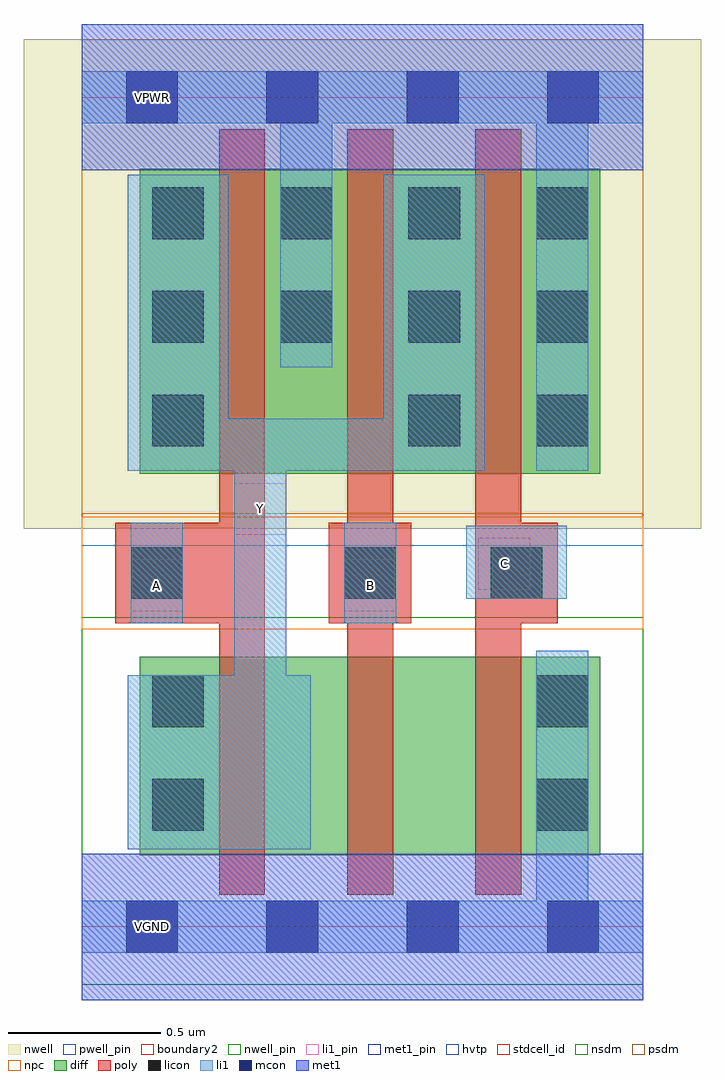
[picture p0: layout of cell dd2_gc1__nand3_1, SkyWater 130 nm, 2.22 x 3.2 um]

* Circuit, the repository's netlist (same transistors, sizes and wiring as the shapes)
.subckt dd2_gc1__nand3_1 A B C VGND VNB VPB VPWR Y
X0 Y A n1 VNB sky130_fd_pr__nfet_01v8 w=0.65 l=0.15
X1 n1 B n2 VNB sky130_fd_pr__nfet_01v8 w=0.65 l=0.15
X2 n2 C VGND VNB sky130_fd_pr__nfet_01v8 w=0.65 l=0.15
X3 Y A VPWR VPB sky130_fd_pr__pfet_01v8_hvt w=1 l=0.15
X4 Y B VPWR VPB sky130_fd_pr__pfet_01v8_hvt w=1 l=0.15
X5 Y C VPWR VPB sky130_fd_pr__pfet_01v8_hvt w=1 l=0.15
.ends

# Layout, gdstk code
import gdstk
lib = gdstk.Library(unit=1e-6, precision=1e-09)
def R(c, l, rs):  # rectangles x0, y0, x1, y1
    for r in rs: c.add(gdstk.rectangle(r[:2], r[2:], *l))
def A(c, l, x, y, w, h, nx, ny, dx, dy):  # array of equal rectangles
    R(c, l, [(x+i*dx, y+j*dy, x+i*dx+w, y+j*dy+h) for i in range(nx) for j in range(ny)])
nwell_pin = (64, 16)
nwell = (64, 20)
diff = (65, 20)
poly = (66, 20)
licon = (66, 44)
li1_pin = (67, 16)
li1 = (67, 20)
mcon = (67, 44)
met1_pin = (68, 16)
met1 = (68, 20)
hvtp = (78, 44)
stdcell_id = (81, 4)
nsdm = (93, 44)
psdm = (94, 20)
npc = (95, 20)
pwell_pin = (122, 16)
boundary2 = (236, 0)

dd2_gc1__nand3_1 = lib.new_cell('dd2_gc1__nand3_1')
R(dd2_gc1__nand3_1, nwell_pin, [(0.145,2.635,0.315,2.805)])
R(dd2_gc1__nand3_1, nwell, [(-0.19,1.305,2.03,2.91)])
R(dd2_gc1__nand3_1, diff, [(0.19,0.235,1.7,0.885), (0.19,1.485,1.7,2.485)])
A(dd2_gc1__nand3_1, poly, 0.45, 0.105, 0.15, 2.51, 3, 1, 0.42, 0)
R(dd2_gc1__nand3_1, poly, [(0.11,0.995,0.6,1.325), (0.81,0.995,1.08,1.325), (1.29,0.995,1.56,1.325)])
A(dd2_gc1__nand3_1, licon, 0.23, 1.915, 0.17, 0.17, 4, 2, 0.42, 0.34)
R(dd2_gc1__nand3_1, licon, [(0.23,0.315,0.4,0.485), (1.49,0.315,1.66,0.485), (0.23,0.655,0.4,0.825), (1.49,0.655,1.66,0.825), (0.16,1.075,0.33,1.245), (0.86,1.075,1.03,1.245), (1.34,1.075,1.51,1.245), (0.23,1.575,0.4,1.745), (1.07,1.575,1.24,1.745), (1.49,1.575,1.66,1.745)])
R(dd2_gc1__nand3_1, li1_pin, [(0.16,1.035,0.33,1.205), (0.86,1.035,1.03,1.205), (1.3,1.105,1.47,1.275), (0.5,1.285,0.67,1.455)])
R(dd2_gc1__nand3_1, li1, [(0,-0.085,1.84,0.085), (1.49,-0.085,1.66,0.905), (0.15,0.255,0.75,0.825), (0.5,0.815,0.67,1.505), (0.16,0.995,0.33,1.325), (0.86,0.995,1.03,1.325), (1.26,1.075,1.59,1.315), (0.15,1.495,0.48,2.465), (0.15,1.495,1.32,1.665), (0.99,1.495,1.32,2.465), (1.49,1.495,1.66,2.805), (0.65,1.835,0.82,2.805), (0,2.635,1.84,2.805)])
A(dd2_gc1__nand3_1, mcon, 0.145, -0.085, 0.17, 0.17, 4, 2, 0.46, 2.72)
R(dd2_gc1__nand3_1, met1_pin, [(0.145,-0.085,0.315,0.085), (0.145,2.635,0.315,2.805)])
R(dd2_gc1__nand3_1, met1, [(0,-0.24,1.84,0.24), (0,2.48,1.84,2.96)])
R(dd2_gc1__nand3_1, hvtp, [(0,1.25,1.84,2.72)])
R(dd2_gc1__nand3_1, stdcell_id, [(0,0,1.84,2.72)])
R(dd2_gc1__nand3_1, nsdm, [(0,-0.19,1.84,1.015)])
R(dd2_gc1__nand3_1, psdm, [(0,1.355,1.84,2.91)])
R(dd2_gc1__nand3_1, npc, [(0,0.975,1.84,1.345)])
R(dd2_gc1__nand3_1, pwell_pin, [(0.145,-0.085,0.315,0.085)])
R(dd2_gc1__nand3_1, boundary2, [(0,0,1.84,2.72)])
dd2_gc1__nand3_1.add(gdstk.Label('A', (0.245,1.12), layer=67, texttype=5))
dd2_gc1__nand3_1.add(gdstk.Label('B', (0.945,1.12), layer=67, texttype=5))
dd2_gc1__nand3_1.add(gdstk.Label('C', (1.385,1.19), layer=67, texttype=5))
dd2_gc1__nand3_1.add(gdstk.Label('Y', (0.585,1.37), layer=67, texttype=5))
dd2_gc1__nand3_1.add(gdstk.Label('VGND', (0.23,0), layer=68, texttype=5))
dd2_gc1__nand3_1.add(gdstk.Label('VPWR', (0.23,2.72), layer=68, texttype=5))
dd2_gc1__nand3_1.add(gdstk.Label('VPB', (0.23,2.72), layer=64, texttype=5))
dd2_gc1__nand3_1.add(gdstk.Label('VNB', (0.23,0), layer=64, texttype=59))

lib.write_gds('dd2_gc1__nand3_1.gds')
